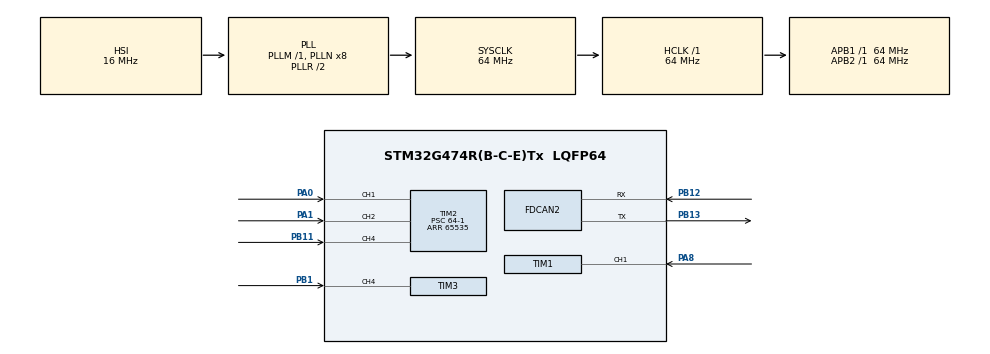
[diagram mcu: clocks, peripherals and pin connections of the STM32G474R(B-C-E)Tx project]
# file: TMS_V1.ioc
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Dma.Request0=TIM1_CH1
Dma.Request1=TIM2_CH1
Dma.Request2=TIM2_CH2
Dma.Request3=TIM3_CH4
Dma.Request4=TIM2_CH4
Dma.TIM1_CH1.0.Direction=DMA_PERIPH_TO_MEMORY
Dma.TIM1_CH1.0.EventEnable=DISABLE
Dma.TIM1_CH1.0.Instance=DMA1_Channel1
Dma.TIM1_CH1.0.MemDataAlignment=DMA_MDATAALIGN_WORD
Dma.TIM1_CH1.0.MemInc=DMA_MINC_ENABLE
Dma.TIM1_CH1.0.Mode=DMA_NORMAL
Dma.TIM1_CH1.0.PeriphDataAlignment=DMA_PDATAALIGN_WORD
Dma.TIM1_CH1.0.PeriphInc=DMA_PINC_DISABLE
Dma.TIM1_CH1.0.Polarity=HAL_DMAMUX_REQ_GEN_RISING
Dma.TIM1_CH1.0.Priority=DMA_PRIORITY_LOW
Dma.TIM1_CH1.0.RequestNumber=1
Dma.TIM1_CH1.0.SignalID=NONE
Dma.TIM1_CH1.0.SyncEnable=DISABLE
Dma.TIM1_CH1.0.SyncPolarity=HAL_DMAMUX_SYNC_NO_EVENT
Dma.TIM1_CH1.0.SyncRequestNumber=1
Dma.TIM1_CH1.0.SyncSignalID=NONE
Dma.TIM2_CH1.1.Direction=DMA_PERIPH_TO_MEMORY
Dma.TIM2_CH1.1.EventEnable=DISABLE
Dma.TIM2_CH1.1.Instance=DMA1_Channel4
Dma.TIM2_CH1.1.MemDataAlignment=DMA_MDATAALIGN_WORD
Dma.TIM2_CH1.1.MemInc=DMA_MINC_ENABLE
Dma.TIM2_CH1.1.Mode=DMA_NORMAL
Dma.TIM2_CH1.1.PeriphDataAlignment=DMA_PDATAALIGN_WORD
Dma.TIM2_CH1.1.PeriphInc=DMA_PINC_DISABLE
Dma.TIM2_CH1.1.Polarity=HAL_DMAMUX_REQ_GEN_RISING
Dma.TIM2_CH1.1.Priority=DMA_PRIORITY_LOW
Dma.TIM2_CH1.1.RequestNumber=1
Dma.TIM2_CH1.1.SignalID=NONE
Dma.TIM2_CH1.1.SyncEnable=DISABLE
Dma.TIM2_CH1.1.SyncPolarity=HAL_DMAMUX_SYNC_NO_EVENT
Dma.TIM2_CH1.1.SyncRequestNumber=1
Dma.TIM2_CH1.1.SyncSignalID=NONE
Dma.TIM2_CH2.2.Direction=DMA_PERIPH_TO_MEMORY
Dma.TIM2_CH2.2.EventEnable=DISABLE
Dma.TIM2_CH2.2.Instance=DMA1_Channel5
Dma.TIM2_CH2.2.MemDataAlignment=DMA_MDATAALIGN_WORD
Dma.TIM2_CH2.2.MemInc=DMA_MINC_ENABLE
Dma.TIM2_CH2.2.Mode=DMA_NORMAL
Dma.TIM2_CH2.2.PeriphDataAlignment=DMA_PDATAALIGN_WORD
Dma.TIM2_CH2.2.PeriphInc=DMA_PINC_DISABLE
Dma.TIM2_CH2.2.Polarity=HAL_DMAMUX_REQ_GEN_RISING
Dma.TIM2_CH2.2.Priority=DMA_PRIORITY_LOW
Dma.TIM2_CH2.2.RequestNumber=1
Dma.TIM2_CH2.2.SignalID=NONE
Dma.TIM2_CH2.2.SyncEnable=DISABLE
Dma.TIM2_CH2.2.SyncPolarity=HAL_DMAMUX_SYNC_NO_EVENT
Dma.TIM2_CH2.2.SyncRequestNumber=1
Dma.TIM2_CH2.2.SyncSignalID=NONE
Dma.TIM2_CH4.4.Direction=DMA_PERIPH_TO_MEMORY
Dma.TIM2_CH4.4.EventEnable=DISABLE
Dma.TIM2_CH4.4.Instance=DMA1_Channel2
Dma.TIM2_CH4.4.MemDataAlignment=DMA_MDATAALIGN_WORD
Dma.TIM2_CH4.4.MemInc=DMA_MINC_ENABLE
Dma.TIM2_CH4.4.Mode=DMA_NORMAL
Dma.TIM2_CH4.4.PeriphDataAlignment=DMA_PDATAALIGN_WORD
Dma.TIM2_CH4.4.PeriphInc=DMA_PINC_DISABLE
Dma.TIM2_CH4.4.Polarity=HAL_DMAMUX_REQ_GEN_RISING
Dma.TIM2_CH4.4.Priority=DMA_PRIORITY_LOW
Dma.TIM2_CH4.4.RequestNumber=1
Dma.TIM2_CH4.4.SignalID=NONE
Dma.TIM2_CH4.4.SyncEnable=DISABLE
Dma.TIM2_CH4.4.SyncPolarity=HAL_DMAMUX_SYNC_NO_EVENT
Dma.TIM2_CH4.4.SyncRequestNumber=1
Dma.TIM2_CH4.4.SyncSignalID=NONE
Dma.TIM3_CH4.3.Direction=DMA_PERIPH_TO_MEMORY
Dma.TIM3_CH4.3.EventEnable=DISABLE
Dma.TIM3_CH4.3.Instance=DMA1_Channel6
Dma.TIM3_CH4.3.MemDataAlignment=DMA_MDATAALIGN_WORD
Dma.TIM3_CH4.3.MemInc=DMA_MINC_ENABLE
Dma.TIM3_CH4.3.Mode=DMA_NORMAL
Dma.TIM3_CH4.3.PeriphDataAlignment=DMA_PDATAALIGN_WORD
Dma.TIM3_CH4.3.PeriphInc=DMA_PINC_DISABLE
Dma.TIM3_CH4.3.Polarity=HAL_DMAMUX_REQ_GEN_RISING
Dma.TIM3_CH4.3.Priority=DMA_PRIORITY_LOW
Dma.TIM3_CH4.3.RequestNumber=1
Dma.TIM3_CH4.3.SignalID=NONE
Dma.TIM3_CH4.3.SyncEnable=DISABLE
Dma.TIM3_CH4.3.SyncPolarity=HAL_DMAMUX_SYNC_NO_EVENT
Dma.TIM3_CH4.3.SyncRequestNumber=1
Dma.TIM3_CH4.3.SyncSignalID=NONE
FDCAN2.CalculateBaudRateNominal=500000
FDCAN2.CalculateTimeBitNominal=2000
FDCAN2.CalculateTimeQuantumNominal=125.0
FDCAN2.NominalPrescaler=8
FDCAN2.NominalTimeSeg1=13
FDCAN2.NominalTimeSeg2=2
Mcu.Family=STM32G4
Mcu.Name=STM32G474R(B-C-E)Tx
Mcu.Package=LQFP64
NVIC.DMA1_Channel1_IRQn=true\:0\:0\:false\:false\:true\:false\:true\:true
NVIC.DMA1_Channel2_IRQn=true\:0\:0\:false\:false\:true\:false\:true\:true
NVIC.DMA1_Channel4_IRQn=true\:0\:0\:false\:false\:true\:false\:true\:true
NVIC.DMA1_Channel5_IRQn=true\:0\:0\:false\:false\:true\:false\:true\:true
NVIC.DMA1_Channel6_IRQn=true\:0\:0\:false\:false\:true\:false\:true\:true
NVIC.PriorityGroup=NVIC_PRIORITYGROUP_4
PA0.Signal=S_TIM2_CH1
PA1.Signal=S_TIM2_CH2
PA13.Mode=Serial_Wire
PA13.Signal=SYS_JTMS-SWDIO
PA14.Mode=Serial_Wire
PA14.Signal=SYS_JTCK-SWCLK
PA8.Signal=S_TIM1_CH1
PB1.Signal=S_TIM3_CH4
PB11.Signal=S_TIM2_CH4
PB12.Mode=FDCAN_Activate
PB12.Signal=FDCAN2_RX
PB13.Mode=FDCAN_Activate
PB13.Signal=FDCAN2_TX
ProjectManager.HeapSize=0x200
ProjectManager.StackSize=0x400
ProjectManager.TargetToolchain=STM32CubeIDE
RCC.ADC12Freq_Value=64000000
RCC.ADC345Freq_Value=64000000
RCC.AHBFreq_Value=64000000
RCC.APB1Freq_Value=64000000
RCC.APB1TimFreq_Value=64000000
RCC.APB2Freq_Value=64000000
RCC.APB2TimFreq_Value=64000000
RCC.CortexFreq_Value=64000000
RCC.EXTERNAL_CLOCK_VALUE=12288000
RCC.HCLKFreq_Value=64000000
RCC.HSE_VALUE=8000000
RCC.HSI48_VALUE=48000000
RCC.HSI_VALUE=16000000
RCC.LSE_VALUE=32768
RCC.SYSCLKFreq_VALUE=64000000
RCC.SYSCLKSource=RCC_SYSCLKSOURCE_PLLCLK
RCC.USBFreq_Value=64000000
RCC.VCOOutputFreq_Value=128000000
SH.S_TIM1_CH1.0=TIM1_CH1,Input_Capture1_from_TI1
SH.S_TIM2_CH1.0=TIM2_CH1,Input_Capture1_from_TI1
SH.S_TIM2_CH2.0=TIM2_CH2,Input_Capture2_from_TI2
SH.S_TIM2_CH4.0=TIM2_CH4,Input_Capture4_from_TI4
SH.S_TIM3_CH4.0=TIM3_CH4,Input_Capture4_from_TI4
TIM1.Channel-Input_Capture1_from_TI1=TIM_CHANNEL_1
TIM1.Prescaler=64-1
TIM2.Channel-Input_Capture1_from_TI1=TIM_CHANNEL_1
TIM2.Channel-Input_Capture2_from_TI2=TIM_CHANNEL_2
TIM2.Channel-Input_Capture4_from_TI4=TIM_CHANNEL_4
TIM2.PeriodNoDither=65535
TIM2.Prescaler=64-1
TIM3.Channel-Input_Capture4_from_TI4=TIM_CHANNEL_4
TIM3.Prescaler=64-1
VP_SYS_VS_DBSignals.Mode=DisableDeadBatterySignals
VP_TIM1_VS_ClockSourceINT.Mode=Internal
VP_TIM2_VS_ClockSourceINT.Mode=Internal
VP_TIM3_VS_ClockSourceINT.Mode=Internal
board=custom

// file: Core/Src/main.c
/* USER CODE BEGIN Header */
/**
  ******************************************************************************
  * @file           : main.c
  * @brief          : TMS — Temperature Monitoring System
  *
  * ARCHITECTURE (new hardware):
  *   5 segments × 16 cells each = 80 cells total
  *
  *   Per segment:
  *     16 NTC sensors → 16-ch analog MUX → V-to-F converter
  *     → optical isolator → Timer Input Capture pin
  *
  *   MUX address (S0–S3): PA2–PA5, shared across all 5 segment MUXes.
  *   Selecting channel N on the address bus selects cell N on ALL 5 segments
  *   simultaneously, so all 5 V-to-F converters run in parallel per channel.
  *
  * SCAN CYCLE (every ~320 ms with default timing):
  *   for ch = 0..15:
  *     1. Drive MUX_S0..S3 to 'ch'
  *     2. Wait MUX_SETTLE_MS for V-to-F output to settle at new frequency
  *     3. Start DMA Input Capture on all 5 timer channels simultaneously
  *     4. Wait MUX_MEASURE_MS (captures 2 rising edges per channel)
  *     5. Compute frequency → voltage → temperature for each segment
  *
  * OUTPUTS after each full scan:
  *   CAN — 10 × classic CAN frames to Orion 2 BMS (80 temperatures)
  *          IDs 0x1839F380..0x1839F389  (29-bit extended)
  *          Encoding: data[byte] = (uint8_t)(temp_°C + 40)
  *          Msg 0: Seg0 cells 0-7 … Msg 9: Seg4 cells 8-15
  *
  *   CAN — 1 × summary frame to secondary MCU
  *          ID 0x100  (11-bit standard)
  *          Byte 0: T_min+40    Byte 1: min_cell  Byte 2: min_seg
  *          Byte 3: T_avg+40
  *          Byte 4: T_max+40    Byte 5: max_cell  Byte 6: max_seg
  *          Byte 7: 0x00 (reserved)
  *
  * HARDWARE PINS (do NOT change without updating CubeMX .ioc):
  *   PA0  TIM2_CH1  Segment 0 V-to-F input
  *   PA1  TIM2_CH2  Segment 1 V-to-F input
  *   PB1  TIM3_CH4  Segment 2 V-to-F input
  *   PB11 TIM2_CH4  Segment 3 V-to-F input
  *   PA8  TIM1_CH1  Segment 4 V-to-F input
  *   PA2  USART2_TX (AF7)  ST-Link VCP → PC dashboard (115200 baud)
  *   PA3  USART2_RX (AF7)  ST-Link VCP (unused, TX-only)
  *   PB4  GPIO_OUT  MUX_S0 (LSB of 4-bit channel address)
  *   PB5  GPIO_OUT  MUX_S1
  *   PB6  GPIO_OUT  MUX_S2
  *   PB7  GPIO_OUT  MUX_S3 (MSB)
  *   PB8  FDCAN1_RX (AF9)
  *   PB9  FDCAN1_TX (AF9)
  ******************************************************************************
  */
/* USER CODE END Header */
#include "main.h"

/* USER CODE BEGIN Includes */
#include <string.h>
#include <stdio.h>
/* USER CODE END Includes */

/* USER CODE BEGIN PD */

/* ---------- System dimensions ---------- */
#define MAX_SEGMENTS         5u    /* physical timer channels — fixed array dimension, never change */
#define NUM_SEGMENTS         1u    /* active segments for bring-up; change to 5 for full-pack */
#define NUM_CHANNELS        16u    /* 16-channel MUX per segment               */
#define NUM_CELLS           (NUM_SEGMENTS * NUM_CHANNELS)   /* 80 total        */

/* ---------- Scan timing (ms) ---------- */
/*
 * MUX_SETTLE_MS  : time from MUX address change until the V-to-F output is
 *                  stable at the new frequency.  Increase if your V-to-F
 *                  integrating capacitor is large (slow settling).
 * MUX_MEASURE_MS : measurement window after settling.  Must be > 2 × period
 *                  at the lowest expected frequency (1800 Hz → 1.1 ms),
 *                  so 10 ms gives a comfortable margin.
 */
#define MUX_SETTLE_MS        10u
#define MUX_MEASURE_MS       2u

/* ---------- V-to-F / temperature conversion ---------- */
#define EMA_ALPHA            0.3f   /* EMA smoothing: lower = smoother, slower */
#define FREQ_MIN          1829.0f   /* Hz  @ V_MIN (hottest cell) */
#define FREQ_MAX          5515.0f   /* Hz  @ V_MAX (coldest cell) */
#define V_MIN                1.30f  /* V */
#define V_MAX                2.44f  /* V */
#define TIMER_OVERFLOW     65536u   /* 16-bit timer ARR = 65535, wraps at 65536 */
#define FREQ_OPEN_WIRE_HZ  7000.0f  /* Hz — above FREQ_MAX; indicates disconnected cell (open wire → ~11 kHz) */
#define OPEN_WIRE_MISS_MAX    3u    /* consecutive zero-freq scans before declaring open wire */

/* ---------- Orion 2 BMS — Thermistor Expansion Module protocol ----------
 *
 * Two frame types must be sent to simulate a thermistor expansion module
 * (Note #8 of the official protocol document):
 *
 *   0x18EEFF80+seg  J1939 Address Claim   — every scan (~200 ms target)
 *   0x1839F380+seg  Thermistor Broadcast  — every scan (~100 ms target)
 *
 * Each segment is treated as an independent thermistor module (seg 0–4).
 * Temperature encoding: signed 8-bit, direct °C (no offset).
 * Checksum (byte 8): sum(bytes 1–7) + 0x39 + 8 (frame length).
 */

/* ---------- Summary packet to secondary MCU ---------- */
#define SUMMARY_CAN_ID       0x100u        /* 11-bit standard CAN ID */

/* ---------- Modo de teste -------------------------------------------------------
 * Descomente TEST_MODE para habilitar o gerador de frequência via TIM16 CH1 (PA6).
 * Conecte PA6 com um jumper ao pino de entrada do segmento que quer testar (PA0).
 * O firmware opera normalmente (scan MUX, CAN, UART); a única adição é o PWM em PA6.
 *
 * test_freq_hz (Live Expressions) controla a frequência gerada em tempo real.
 * Faixa válida: 1800–5450 Hz.
 * -------------------------------------------------------------------------*/
#define TEST_MODE
#define TEST_FREQ_HZ_DEFAULT  3600U     /* frequência inicial em Hz */

/* USER CODE END PD */

FDCAN_HandleTypeDef hfdcan2;

TIM_HandleTypeDef htim1;
TIM_HandleTypeDef htim2;
TIM_HandleTypeDef htim3;
DMA_HandleTypeDef hdma_tim1_ch1;
DMA_HandleTypeDef hdma_tim2_ch1;
DMA_HandleTypeDef hdma_tim2_ch2;
DMA_HandleTypeDef hdma_tim2_ch4;
DMA_HandleTypeDef hdma_tim3_ch4;

/* USER CODE BEGIN PV */

/* ---- Live-expression variables (sempre presentes na RAM) ----
 * volatile: toda escrita vai direto para memória → Live Expressions sempre
 * mostra o valor atual, nunca uma cópia obsoleta de registrador.     */
/* Arrays sized to MAX_SEGMENTS (5) regardless of NUM_SEGMENTS.
 * process_segment() is called for all 5 hardware channels unconditionally;
 * using [NUM_SEGMENTS] here caused a buffer overflow that aliased
 * freq_filtrada[1][ch] onto temperatures[0][ch], corrupting t_min. */
volatile float     freq_filtrada[MAX_SEGMENTS][NUM_CHANNELS] __attribute__((used));
volatile float     temperatures[MAX_SEGMENTS][NUM_CHANNELS]  __attribute__((used));
volatile float     tensao[MAX_SEGMENTS][NUM_CHANNELS]        __attribute__((used));

/* 1 = all active-segment cells have valid readings; 0 = at least one open wire */
volatile uint8_t   connection_ok                             __attribute__((used));

#ifdef TEST_MODE
static TIM_HandleTypeDef htim16_test;
volatile uint32_t  test_freq_hz = TEST_FREQ_HZ_DEFAULT; /* Hz — altere via Live Expressions */
#endif

/* Voltage-to-temperature lookup table (monotonically decreasing voltage) */
static const float temp_table[] = {
    -40,-35,-30,-25,-20,-15,-10, -5,  0,  5, 10, 15, 20, 25,
     30, 35, 40, 45, 50, 55, 60, 65, 70, 75, 80, 85, 90, 95,
    100,105,110,115,120
};
#define TEMP_TABLE_LEN  (sizeof(temp_table) / sizeof(float))

static const float voltage_table[] = {
    2.44f,2.42f,2.40f,2.38f,2.35f,2.32f,2.27f,2.23f,2.17f,2.11f,
    2.05f,1.99f,1.92f,1.86f,1.80f,1.74f,1.68f,1.63f,1.59f,1.55f,
    1.51f,1.48f,1.45f,1.43f,1.40f,1.38f,1.37f,1.35f,1.34f,1.33f,
    1.32f,1.31f,1.30f
};

/* Scan statistics — updated each full cycle */
static float t_min, t_avg, t_max;
static uint8_t min_cell, min_seg, max_cell, max_seg;

/* Open-wire detection: counts consecutive zero-freq readings per cell */
static uint8_t open_wire_count[MAX_SEGMENTS][NUM_CHANNELS];

/* USER CODE END PV */

void SystemClock_Config(void);
static void MX_GPIO_Init(void);
static void MX_DMA_Init(void);
static void MX_TIM1_Init(void);
static void MX_TIM2_Init(void);
static void MX_TIM3_Init(void);
static void MX_FDCAN2_Init(void);
/* USER CODE BEGIN PFP */
static void FDCAN_Config(void);
static void USART2_Init(void);
static void USART2_Write(const char *buf, uint16_t len);
#ifdef TEST_MODE
static void test_pwm_start(uint32_t freq_hz);
static void test_pwm_update(uint32_t freq_hz);
#endif
/* USER CODE END PFP */

/* USER CODE BEGIN 0 */

/* DMA capture buffers — two timestamps per channel (1 MHz timer → µs) */
static volatile uint32_t in_capture_1[2];  /* Seg 0: TIM2 CH1  (PA0)  */
static volatile uint32_t in_capture_2[2];  /* Seg 1: TIM2 CH2  (PA1)  */
static volatile uint32_t in_capture_3[2];  /* Seg 2: TIM3 CH4  (PB1)  */
static volatile uint32_t in_capture_4[2];  /* Seg 3: TIM2 CH4  (PB11) */
static volatile uint32_t in_capture_5[2];  /* Seg 4: TIM1 CH1  (PA8)  */

/* ---- Helper: linear interpolation ---- */
static float map_float(float x,
                       float in_min, float in_max,
                       float out_min, float out_max)
{
    return (x - in_min) * (out_max - out_min) / (in_max - in_min) + out_min;
}

/* ---- Frequency (Hz) → analog voltage (V) ---- */
static float freq_to_voltage(float freq)
{
    if (freq < FREQ_MIN) freq = FREQ_MIN;
    if (freq > FREQ_MAX) freq = FREQ_MAX;
    return map_float(freq, FREQ_MIN, FREQ_MAX, V_MIN, V_MAX);
}

/* ---- Voltage (V) → temperature (°C) via lookup table ---- */
static float voltage_to_temp(float v)
{
    uint32_t i;
    for (i = 0; i < TEMP_TABLE_LEN - 1u; i++)
    {
        if (v <= voltage_table[i] && v >= voltage_table[i + 1u])
        {
            return map_float(v,
                             voltage_table[i], voltage_table[i + 1u],
                             temp_table[i],    temp_table[i + 1u]);
        }
    }
    return -999.0f;   /* out-of-range sentinel */
}

/* ---- MUX channel selection (S0–S3 → 4-bit binary address) ---- */
static void MUX_SetChannel(uint8_t ch)
{
    /* Drive each address bit individually; HAL_GPIO_WritePin is fast enough */
    HAL_GPIO_WritePin(MUX_S0_GPIO_Port, MUX_S0_Pin,
                      (ch & 0x01u) ? GPIO_PIN_SET : GPIO_PIN_RESET);
    HAL_GPIO_WritePin(MUX_S1_GPIO_Port, MUX_S1_Pin,
                      (ch & 0x02u) ? GPIO_PIN_SET : GPIO_PIN_RESET);
    HAL_GPIO_WritePin(MUX_S2_GPIO_Port, MUX_S2_Pin,
                      (ch & 0x04u) ? GPIO_PIN_SET : GPIO_PIN_RESET);
    HAL_GPIO_WritePin(MUX_S3_GPIO_Port, MUX_S3_Pin,
                      (ch & 0x08u) ? GPIO_PIN_SET : GPIO_PIN_RESET);
}

/* ---- Compute frequency from two DMA-captured timer timestamps ---- */
static float compute_frequency(volatile uint32_t *cap)
{
    uint32_t delta;
    if (cap[1] >= cap[0])
        delta = cap[1] - cap[0];
    else
        delta = TIMER_OVERFLOW - cap[0] + cap[1];   /* handle wrap-around */

    if (delta == 0u) return 0.0f;
    return 1000000.0f / (float)delta;               /* timer @ 1 MHz → µs */
}

/* ---- Compute min / avg / max across all cells, skipping open-wire (-999) ---- */
static void ComputeStats(void)
{
    float   sum        = 0.0f;
    uint8_t valid_cnt  = 0u;

    t_min    = 200.0f;   /* sentinel: higher than any real temperature */
    t_max    = -200.0f;  /* sentinel: lower  than any real temperature */
    min_seg  = 0u; min_cell = 0u;
    max_seg  = 0u; max_cell = 0u;
    connection_ok = 1u;  /* assume healthy; cleared on first open-wire cell found */

    for (uint8_t seg = 0u; seg < NUM_SEGMENTS; seg++)
    {
        for (uint8_t ch = 0u; ch < NUM_CHANNELS; ch++)
        {
#ifdef TEST_MODE
            if (seg == 0u && ch == 14u) continue;  /* canal 14 ignorado em TEST_MODE */
#endif
            float t = temperatures[seg][ch];
            if (t <= -998.0f)
            {
                connection_ok = 0u;   /* at least one open wire detected */
                continue;
            }
            sum += t;
            valid_cnt++;
            if (t < t_min) { t_min = t; min_seg = seg; min_cell = ch; }
            if (t > t_max) { t_max = t; max_seg = seg; max_cell = ch; }
        }
    }

    t_avg = (valid_cnt > 0u) ? (sum / (float)valid_cnt) : -999.0f;

    /* If no valid cell found, reset sentinels to avoid sending garbage on CAN */
    if (valid_cnt == 0u) { t_min = -999.0f; t_max = -999.0f; }
}

/* ---- J1939 Address Claim (0x18EEFF80 + seg) — one frame per module ----
 *
 * Required for the Orion 2 BMS to recognise each simulated thermistor module.
 * CAN ID last byte = source address (0x80 + seg).
 *
 *   Byte 1–3  J1939 unique identifier (default 0xF3 0x00 0x80)
 *   Byte 4    BMS target address (0xF3)
 *   Byte 5    Module number << 3
 *   Byte 6    0x40  (constant)
 *   Byte 7    0x1E  (constant)
 *   Byte 8    0x90  (constant)
 */
static void CAN_SendAddressClaim(void)
{
    FDCAN_TxHeaderTypeDef hdr = {0};
    uint8_t data[8];

    hdr.IdType              = FDCAN_EXTENDED_ID;
    hdr.TxFrameType         = FDCAN_DATA_FRAME;
    hdr.DataLength          = FDCAN_DLC_BYTES_8;
    hdr.ErrorStateIndicator = FDCAN_ESI_ACTIVE;
    hdr.BitRateSwitch       = FDCAN_BRS_OFF;
    hdr.FDFormat            = FDCAN_CLASSIC_CAN;
    hdr.TxEventFifoControl  = FDCAN_NO_TX_EVENTS;
    hdr.MessageMarker       = 0u;

    data[3] = 0xF3u;
    data[5] = 0x40u;
    data[6] = 0x1Eu;
    data[7] = 0x90u;

    for (uint8_t seg = 0u; seg < NUM_SEGMENTS; seg++)
    {
        data[0] = 0xF3u;
        data[1] = 0x00u;
        data[2] = 0x80u;
        data[4] = (uint8_t)(seg << 3u);   /* module number << 3 */

        hdr.Identifier = 0x18EEFF80u + seg;
        HAL_FDCAN_AddMessageToTxFifoQ(&hfdcan2, &hdr, data);
    }
}

/* ---- Thermistor Module Broadcast (0x1839F380 + seg) — one frame per module ----
 *
 *   Byte 1  Module number (= seg, 0–4)
 *   Byte 2  Lowest  thermistor value (int8_t, °C)
 *   Byte 3  Highest thermistor value (int8_t, °C)
 *   Byte 4  Average thermistor value (int8_t, °C)
 *   Byte 5  Number of thermistors enabled; bit 7 set if any fault on this module
 *   Byte 6  Highest thermistor ID on the module (zero-based MUX channel)
 *   Byte 7  Lowest  thermistor ID on the module (zero-based MUX channel)
 *   Byte 8  Checksum: sum(bytes 1–7) + 0x39 + 8
 */
static void CAN_SendThermistorData(void)
{
    FDCAN_TxHeaderTypeDef hdr = {0};
    uint8_t data[8];

    hdr.IdType              = FDCAN_EXTENDED_ID;
    hdr.TxFrameType         = FDCAN_DATA_FRAME;
    hdr.DataLength          = FDCAN_DLC_BYTES_8;
    hdr.ErrorStateIndicator = FDCAN_ESI_ACTIVE;
    hdr.BitRateSwitch       = FDCAN_BRS_OFF;
    hdr.FDFormat            = FDCAN_CLASSIC_CAN;
    hdr.TxEventFifoControl  = FDCAN_NO_TX_EVENTS;
    hdr.MessageMarker       = 0u;

    for (uint8_t seg = 0u; seg < NUM_SEGMENTS; seg++)
    {
        float   seg_min = 200.0f, seg_max = -200.0f, seg_sum = 0.0f;
        uint8_t valid = 0u, fault = 0u;
        uint8_t highest_id = 0u, lowest_id = 0u;

        for (uint8_t ch = 0u; ch < NUM_CHANNELS; ch++)
        {
            float t = temperatures[seg][ch];
            if (t <= -998.0f) { fault = 1u; continue; }
            seg_sum += t;
            valid++;
            if (t < seg_min) { seg_min = t; lowest_id  = ch; }
            if (t > seg_max) { seg_max = t; highest_id = ch; }
        }

        data[0] = seg;
        data[1] = (uint8_t)(int8_t)(valid > 0u ? seg_min : -40.0f);
        data[2] = (uint8_t)(int8_t)(valid > 0u ? seg_max : -40.0f);
        data[3] = (uint8_t)(int8_t)(valid > 0u ? seg_sum / (float)valid : -40.0f);
        data[4] = (valid & 0x7Fu) | (fault ? 0x80u : 0x00u);
        data[5] = highest_id;
        data[6] = lowest_id;

        /* Checksum: sum of bytes 0–6 + 0x39 + frame length (8) */
        uint8_t cksum = 0x39u + 8u;
        for (uint8_t i = 0u; i < 7u; i++) cksum += data[i];
        data[7] = cksum;

        hdr.Identifier = 0x1839F380u + seg;
        HAL_FDCAN_AddMessageToTxFifoQ(&hfdcan2, &hdr, data);
    }
}

/* ---- Send 1 summary CAN frame to secondary MCU ---- *
 *
 *   Byte 0  T_min + 40  (uint8_t, same encoding as Orion 2 frames)
 *   Byte 1  min_cell    0–15  (MUX channel index of the coldest cell)
 *   Byte 2  min_seg     0–4   (segment of the coldest cell)
 *   Byte 3  T_avg + 40  (uint8_t)
 *   Byte 4  T_max + 40  (uint8_t)
 *   Byte 5  max_cell    0–15  (MUX channel index of the hottest cell)
 *   Byte 6  max_seg     0–4   (segment of the hottest cell)
 *   Byte 7  0x00        reserved
 */
static void CAN_SendSummaryPacket(void)
{
    FDCAN_TxHeaderTypeDef hdr;
    uint8_t data[8];

    hdr.Identifier          = SUMMARY_CAN_ID;
    hdr.IdType              = FDCAN_STANDARD_ID;
    hdr.TxFrameType         = FDCAN_DATA_FRAME;
    hdr.DataLength          = FDCAN_DLC_BYTES_8;
    hdr.ErrorStateIndicator = FDCAN_ESI_ACTIVE;
    hdr.BitRateSwitch       = FDCAN_BRS_OFF;
    hdr.FDFormat            = FDCAN_CLASSIC_CAN;
    hdr.TxEventFifoControl  = FDCAN_NO_TX_EVENTS;
    hdr.MessageMarker       = 0u;

    data[0] = (uint8_t)(int8_t)t_min;
    data[1] = min_cell;
    data[2] = min_seg;
    data[3] = (uint8_t)(int8_t)t_avg;
    data[4] = (uint8_t)(int8_t)t_max;
    data[5] = max_cell;
    data[6] = max_seg;
    data[7] = 0x00u;

    HAL_FDCAN_AddMessageToTxFifoQ(&hfdcan2, &hdr, data);
}

/* ---- Per-segment open-wire-aware processing --------------------------------
 *
 * Three cases:
 *   freq_raw > FREQ_OPEN_WIRE_HZ  → V-to-F output above valid range (open wire
 *                                    detected directly): mark -999, reset counter.
 *   freq_raw > 0                  → valid measurement: update EMA and compute temp.
 *   freq_raw == 0                 → no edges captured (opto bandwidth limit at high
 *                                    freq, or no signal): increment miss counter;
 *                                    after OPEN_WIRE_MISS_MAX consecutive misses
 *                                    mark -999.  EMA and tensao are not updated in
 *                                    either fault case so the last valid reading is
 *                                    preserved for quick recovery on reconnection.
 */
static void process_segment(uint8_t seg, uint8_t ch, volatile uint32_t *cap)
{
    float freq_raw = compute_frequency(cap);

    if (freq_raw > FREQ_OPEN_WIRE_HZ)
    {
        open_wire_count[seg][ch]  = 0u;
        temperatures[seg][ch]     = -999.0f;
        tensao[seg][ch]           = 0.0f;
    }
    else if (freq_raw > 0.0f)
    {
        open_wire_count[seg][ch]  = 0u;
        freq_filtrada[seg][ch]    = EMA_ALPHA * freq_raw
                                  + (1.0f - EMA_ALPHA) * freq_filtrada[seg][ch];
        temperatures[seg][ch]     = voltage_to_temp(
                                        freq_to_voltage(freq_filtrada[seg][ch]));
        tensao[seg][ch]           = freq_to_voltage(freq_filtrada[seg][ch]);
    }
    else
    {
        if (open_wire_count[seg][ch] < OPEN_WIRE_MISS_MAX)
            open_wire_count[seg][ch]++;
        if (open_wire_count[seg][ch] >= OPEN_WIRE_MISS_MAX)
            temperatures[seg][ch] = -999.0f;
    }
}

/* USER CODE END 0 */

int main(void)
{

  /* MCU Configuration--------------------------------------------------------*/

  /* Reset of all peripherals, Initializes the Flash interface and the Systick. */
  HAL_Init();

  /* Configure the system clock */
  SystemClock_Config();

  /* Initialize all configured peripherals */
  MX_GPIO_Init();
  MX_DMA_Init();
  MX_TIM1_Init();
  MX_TIM2_Init();
  MX_TIM3_Init();
  MX_FDCAN2_Init();
  /* USER CODE BEGIN 2 */

  /* Configure FDCAN1 for 500 kbps (calls HAL_FDCAN_MspInit → GPIO + clock) */
  FDCAN_Config();

  /* USART2 via ST-Link VCP — PA2=TX, PA3=RX, 115200 baud */
  USART2_Init();

  /* Pre-seed EMA with midpoint frequency so the first scan gives a sensible
     reading instead of converging from 0 Hz (which produces 120 °C initially).
     All MAX_SEGMENTS rows are seeded so process_segment(1..4,...) never reads
     uninitialized EMA state. */
  for (uint8_t s = 0u; s < MAX_SEGMENTS; s++)
      for (uint8_t c = 0u; c < NUM_CHANNELS; c++)
          freq_filtrada[s][c] = (FREQ_MIN + FREQ_MAX) * 0.5f;  /* ~3672 Hz */

#ifdef TEST_MODE
  test_pwm_start(test_freq_hz);
#endif

  /* Drive MUX to channel 0 and wait one full settle+measure cycle before
     entering the main loop, so the first scan begins with valid data. */
  MUX_SetChannel(0u);
  HAL_Delay(MUX_SETTLE_MS + MUX_MEASURE_MS);

  /* USER CODE END 2 */

  /* Infinite loop */
  /* USER CODE BEGIN WHILE */
#ifdef TEST_MODE
  uint32_t last_test_freq_hz = test_freq_hz;
#endif
  while (1)
  {
    /* USER CODE END WHILE */

    /* USER CODE BEGIN 3 */

#ifdef TEST_MODE
    /* Aplica qualquer alteração feita em test_freq_hz via Live Expressions */
    if (test_freq_hz != last_test_freq_hz)
    {
        test_pwm_update(test_freq_hz);
        last_test_freq_hz = test_freq_hz;
    }
#endif

    /* ================================================================
     * FULL 16-CHANNEL MUX SCAN
     * For each MUX channel, all 5 segments are captured simultaneously.
     * ================================================================ */
    for (uint8_t ch = 0u; ch < NUM_CHANNELS; ch++)
    {
        /* 1. Select MUX channel on all 5 segment MUXes in parallel */
        MUX_SetChannel(ch);

        /* 2. Stop any previous DMA capture BEFORE settling so the V-to-F
              converter has the full settle window to stabilise at the new
              frequency with no active DMA that could capture residual edges
              from the previous channel. */
        HAL_TIM_IC_Stop_DMA(&htim2, TIM_CHANNEL_1);
        HAL_TIM_IC_Stop_DMA(&htim2, TIM_CHANNEL_2);
        HAL_TIM_IC_Stop_DMA(&htim3, TIM_CHANNEL_4);
        HAL_TIM_IC_Stop_DMA(&htim2, TIM_CHANNEL_4);
        HAL_TIM_IC_Stop_DMA(&htim1, TIM_CHANNEL_1);

        /* Reset timer counters so first-edge timestamps start near zero */
        __HAL_TIM_SET_COUNTER(&htim1, 0u);
        __HAL_TIM_SET_COUNTER(&htim2, 0u);
        __HAL_TIM_SET_COUNTER(&htim3, 0u);

        /* 3. Allow V-to-F converter output to settle at new frequency.
              No DMA is running during this window. */
        HAL_Delay(MUX_SETTLE_MS);

        /* 4. Zero buffers so stale data cannot bleed in if the DMA does not
              complete (channel with no signal). */
        in_capture_1[0] = in_capture_1[1] = 0u;
        in_capture_2[0] = in_capture_2[1] = 0u;
        in_capture_3[0] = in_capture_3[1] = 0u;
        in_capture_4[0] = in_capture_4[1] = 0u;
        in_capture_5[0] = in_capture_5[1] = 0u;

        /* 5. Arm DMA capture on all 5 channels simultaneously.
              Each DMA captures exactly 2 rising edges then stops. */
        HAL_TIM_IC_Start_DMA(&htim2, TIM_CHANNEL_1, (uint32_t *)in_capture_1, 2u);
        HAL_TIM_IC_Start_DMA(&htim2, TIM_CHANNEL_2, (uint32_t *)in_capture_2, 2u);
        HAL_TIM_IC_Start_DMA(&htim3, TIM_CHANNEL_4, (uint32_t *)in_capture_3, 2u);
        HAL_TIM_IC_Start_DMA(&htim2, TIM_CHANNEL_4, (uint32_t *)in_capture_4, 2u);
        HAL_TIM_IC_Start_DMA(&htim1, TIM_CHANNEL_1, (uint32_t *)in_capture_5, 2u);

        /* Wait long enough to guarantee 2 edges at the lowest frequency.
           At 1800 Hz: period = 555 µs → 2 edges in ~1.1 ms.
           MUX_MEASURE_MS = 10 ms → very safe margin. */
        HAL_Delay(MUX_MEASURE_MS);

        /* 6. Compute frequency → voltage → temperature for all 5 segments.
              process_segment() handles open-wire detection (see definition above). */
        process_segment(0u, ch, in_capture_1);  /* TIM2 CH1, PA0  */
        process_segment(1u, ch, in_capture_2);  /* TIM2 CH2, PA1  */
        process_segment(2u, ch, in_capture_3);  /* TIM3 CH4, PB1  */
        process_segment(3u, ch, in_capture_4);  /* TIM2 CH4, PB11 */
        process_segment(4u, ch, in_capture_5);  /* TIM1 CH1, PA8  */
    }

    /* ================================================================
     * AFTER FULL SCAN: compute stats and transmit CAN frames
     * ================================================================ */
    ComputeStats();
    CAN_SendAddressClaim();
    CAN_SendThermistorData();
    CAN_SendSummaryPacket();

    /* UART output to PC dashboard — one line per cell of segment 0:
     * Format: S<seg>,C<cell>,<freq_Hz>,<volt_V>,<temp_C>\r\n
     * Example: S0,C03,2480.50,1.840,36.12                        */
    {
        char    buf[64];
        int     len;
        for (uint8_t ch = 0u; ch < NUM_CHANNELS; ch++)
        {
            float freq = freq_filtrada[0][ch];
            float volt = freq_to_voltage(freq);
            len = snprintf(buf, sizeof(buf), "S0,C%02u,%.2f,%.3f,%.2f\r\n",
                           ch, freq, volt, temperatures[0][ch]);
            USART2_Write(buf, (uint16_t)len);
        }
    }

  }
  /* USER CODE END 3 */
}

void SystemClock_Config(void)
{
  RCC_OscInitTypeDef RCC_OscInitStruct = {0};
  RCC_ClkInitTypeDef RCC_ClkInitStruct = {0};

  /** Configure the main internal regulator output voltage
  */
  HAL_PWREx_ControlVoltageScaling(PWR_REGULATOR_VOLTAGE_SCALE1);

  /** Initializes the RCC Oscillators according to the specified parameters
  * in the RCC_OscInitTypeDef structure.
  */
  RCC_OscInitStruct.OscillatorType = RCC_OSCILLATORTYPE_HSI;
  RCC_OscInitStruct.HSIState = RCC_HSI_ON;
  RCC_OscInitStruct.HSICalibrationValue = RCC_HSICALIBRATION_DEFAULT;
  RCC_OscInitStruct.PLL.PLLState = RCC_PLL_ON;
  RCC_OscInitStruct.PLL.PLLSource = RCC_PLLSOURCE_HSI;
  RCC_OscInitStruct.PLL.PLLM = RCC_PLLM_DIV1;
  RCC_OscInitStruct.PLL.PLLN = 8;
  RCC_OscInitStruct.PLL.PLLP = RCC_PLLP_DIV2;
  RCC_OscInitStruct.PLL.PLLQ = RCC_PLLQ_DIV2;
  RCC_OscInitStruct.PLL.PLLR = RCC_PLLR_DIV2;
  if (HAL_RCC_OscConfig(&RCC_OscInitStruct) != HAL_OK)
  {
    Error_Handler();
  }

  /** Initializes the CPU, AHB and APB buses clocks
  */
  RCC_ClkInitStruct.ClockType = RCC_CLOCKTYPE_HCLK|RCC_CLOCKTYPE_SYSCLK
                              |RCC_CLOCKTYPE_PCLK1|RCC_CLOCKTYPE_PCLK2;
  RCC_ClkInitStruct.SYSCLKSource = RCC_SYSCLKSOURCE_PLLCLK;
  RCC_ClkInitStruct.AHBCLKDivider = RCC_SYSCLK_DIV1;
  RCC_ClkInitStruct.APB1CLKDivider = RCC_HCLK_DIV1;
  RCC_ClkInitStruct.APB2CLKDivider = RCC_HCLK_DIV1;

  if (HAL_RCC_ClockConfig(&RCC_ClkInitStruct, FLASH_LATENCY_2) != HAL_OK)
  {
    Error_Handler();
  }
}

static void MX_FDCAN2_Init(void)
{

  hfdcan2.Instance = FDCAN2;
  hfdcan2.Init.ClockDivider = FDCAN_CLOCK_DIV1;
  hfdcan2.Init.FrameFormat = FDCAN_FRAME_CLASSIC;
  hfdcan2.Init.Mode = FDCAN_MODE_NORMAL;
  hfdcan2.Init.AutoRetransmission = DISABLE;
  hfdcan2.Init.TransmitPause = DISABLE;
  hfdcan2.Init.ProtocolException = DISABLE;
  hfdcan2.Init.NominalPrescaler = 8;
  hfdcan2.Init.NominalSyncJumpWidth = 1;
  hfdcan2.Init.NominalTimeSeg1 = 13;
  hfdcan2.Init.NominalTimeSeg2 = 2;
  hfdcan2.Init.DataPrescaler = 1;
  hfdcan2.Init.DataSyncJumpWidth = 1;
  hfdcan2.Init.DataTimeSeg1 = 1;
  hfdcan2.Init.DataTimeSeg2 = 1;
  hfdcan2.Init.StdFiltersNbr = 0;
  hfdcan2.Init.ExtFiltersNbr = 0;
  hfdcan2.Init.TxFifoQueueMode = FDCAN_TX_FIFO_OPERATION;
  if (HAL_FDCAN_Init(&hfdcan2) != HAL_OK)
  {
    Error_Handler();
  }

}

static void MX_TIM1_Init(void)
{

  TIM_ClockConfigTypeDef sClockSourceConfig = {0};
  TIM_MasterConfigTypeDef sMasterConfig = {0};
  TIM_IC_InitTypeDef sConfigIC = {0};

  htim1.Instance = TIM1;
  htim1.Init.Prescaler = 64-1;
  htim1.Init.CounterMode = TIM_COUNTERMODE_UP;
  htim1.Init.Period = 65535;
  htim1.Init.ClockDivision = TIM_CLOCKDIVISION_DIV1;
  htim1.Init.RepetitionCounter = 0;
  htim1.Init.AutoReloadPreload = TIM_AUTORELOAD_PRELOAD_DISABLE;
  if (HAL_TIM_Base_Init(&htim1) != HAL_OK)
  {
    Error_Handler();
  }
  sClockSourceConfig.ClockSource = TIM_CLOCKSOURCE_INTERNAL;
  if (HAL_TIM_ConfigClockSource(&htim1, &sClockSourceConfig) != HAL_OK)
  {
    Error_Handler();
  }
  if (HAL_TIM_IC_Init(&htim1) != HAL_OK)
  {
    Error_Handler();
  }
  sMasterConfig.MasterOutputTrigger = TIM_TRGO_RESET;
  sMasterConfig.MasterOutputTrigger2 = TIM_TRGO2_RESET;
  sMasterConfig.MasterSlaveMode = TIM_MASTERSLAVEMODE_DISABLE;
  if (HAL_TIMEx_MasterConfigSynchronization(&htim1, &sMasterConfig) != HAL_OK)
  {
    Error_Handler();
  }
  sConfigIC.ICPolarity = TIM_INPUTCHANNELPOLARITY_RISING;
  sConfigIC.ICSelection = TIM_ICSELECTION_DIRECTTI;
  sConfigIC.ICPrescaler = TIM_ICPSC_DIV1;
  sConfigIC.ICFilter = 0;
  if (HAL_TIM_IC_ConfigChannel(&htim1, &sConfigIC, TIM_CHANNEL_1) != HAL_OK)
  {
    Error_Handler();
  }

}

static void MX_TIM2_Init(void)
{

  TIM_ClockConfigTypeDef sClockSourceConfig = {0};
  TIM_MasterConfigTypeDef sMasterConfig = {0};
  TIM_IC_InitTypeDef sConfigIC = {0};

  htim2.Instance = TIM2;
  htim2.Init.Prescaler = 64-1;
  htim2.Init.CounterMode = TIM_COUNTERMODE_UP;
  htim2.Init.Period = 65535;
  htim2.Init.ClockDivision = TIM_CLOCKDIVISION_DIV1;
  htim2.Init.AutoReloadPreload = TIM_AUTORELOAD_PRELOAD_DISABLE;
  if (HAL_TIM_Base_Init(&htim2) != HAL_OK)
  {
    Error_Handler();
  }
  sClockSourceConfig.ClockSource = TIM_CLOCKSOURCE_INTERNAL;
  if (HAL_TIM_ConfigClockSource(&htim2, &sClockSourceConfig) != HAL_OK)
  {
    Error_Handler();
  }
  if (HAL_TIM_IC_Init(&htim2) != HAL_OK)
  {
    Error_Handler();
  }
  sMasterConfig.MasterOutputTrigger = TIM_TRGO_RESET;
  sMasterConfig.MasterSlaveMode = TIM_MASTERSLAVEMODE_DISABLE;
  if (HAL_TIMEx_MasterConfigSynchronization(&htim2, &sMasterConfig) != HAL_OK)
  {
    Error_Handler();
  }
  sConfigIC.ICPolarity = TIM_INPUTCHANNELPOLARITY_RISING;
  sConfigIC.ICSelection = TIM_ICSELECTION_DIRECTTI;
  sConfigIC.ICPrescaler = TIM_ICPSC_DIV1;
  sConfigIC.ICFilter = 0;
  if (HAL_TIM_IC_ConfigChannel(&htim2, &sConfigIC, TIM_CHANNEL_1) != HAL_OK)
  {
    Error_Handler();
  }
  if (HAL_TIM_IC_ConfigChannel(&htim2, &sConfigIC, TIM_CHANNEL_2) != HAL_OK)
  {
    Error_Handler();
  }
  if (HAL_TIM_IC_ConfigChannel(&htim2, &sConfigIC, TIM_CHANNEL_4) != HAL_OK)
  {
    Error_Handler();
  }

}

static void MX_TIM3_Init(void)
{

  TIM_ClockConfigTypeDef sClockSourceConfig = {0};
  TIM_MasterConfigTypeDef sMasterConfig = {0};
  TIM_IC_InitTypeDef sConfigIC = {0};

  htim3.Instance = TIM3;
  htim3.Init.Prescaler = 64-1;
  htim3.Init.CounterMode = TIM_COUNTERMODE_UP;
  htim3.Init.Period = 65535;
  htim3.Init.ClockDivision = TIM_CLOCKDIVISION_DIV1;
  htim3.Init.AutoReloadPreload = TIM_AUTORELOAD_PRELOAD_DISABLE;
  if (HAL_TIM_Base_Init(&htim3) != HAL_OK)
  {
    Error_Handler();
  }
  sClockSourceConfig.ClockSource = TIM_CLOCKSOURCE_INTERNAL;
  if (HAL_TIM_ConfigClockSource(&htim3, &sClockSourceConfig) != HAL_OK)
  {
    Error_Handler();
  }
  if (HAL_TIM_IC_Init(&htim3) != HAL_OK)
  {
    Error_Handler();
  }
  sMasterConfig.MasterOutputTrigger = TIM_TRGO_RESET;
  sMasterConfig.MasterSlaveMode = TIM_MASTERSLAVEMODE_DISABLE;
  if (HAL_TIMEx_MasterConfigSynchronization(&htim3, &sMasterConfig) != HAL_OK)
  {
    Error_Handler();
  }
  sConfigIC.ICPolarity = TIM_INPUTCHANNELPOLARITY_RISING;
  sConfigIC.ICSelection = TIM_ICSELECTION_DIRECTTI;
  sConfigIC.ICPrescaler = TIM_ICPSC_DIV1;
  sConfigIC.ICFilter = 0;
  if (HAL_TIM_IC_ConfigChannel(&htim3, &sConfigIC, TIM_CHANNEL_4) != HAL_OK)
  {
    Error_Handler();
  }

}

static void MX_DMA_Init(void)
{

  /* DMA controller clock enable */
  __HAL_RCC_DMAMUX1_CLK_ENABLE();
  __HAL_RCC_DMA1_CLK_ENABLE();

  /* DMA interrupt init */
  /* DMA1_Channel1_IRQn interrupt configuration */
  HAL_NVIC_SetPriority(DMA1_Channel1_IRQn, 0, 0);
  HAL_NVIC_EnableIRQ(DMA1_Channel1_IRQn);
  /* DMA1_Channel2_IRQn interrupt configuration */
  HAL_NVIC_SetPriority(DMA1_Channel2_IRQn, 0, 0);
  HAL_NVIC_EnableIRQ(DMA1_Channel2_IRQn);
  /* DMA1_Channel4_IRQn interrupt configuration */
  HAL_NVIC_SetPriority(DMA1_Channel4_IRQn, 0, 0);
  HAL_NVIC_EnableIRQ(DMA1_Channel4_IRQn);
  /* DMA1_Channel5_IRQn interrupt configuration */
  HAL_NVIC_SetPriority(DMA1_Channel5_IRQn, 0, 0);
  HAL_NVIC_EnableIRQ(DMA1_Channel5_IRQn);
  /* DMA1_Channel6_IRQn interrupt configuration */
  HAL_NVIC_SetPriority(DMA1_Channel6_IRQn, 0, 0);
  HAL_NVIC_EnableIRQ(DMA1_Channel6_IRQn);

}

static void MX_GPIO_Init(void)
{

  /* GPIO Ports Clock Enable */
  __HAL_RCC_GPIOA_CLK_ENABLE();
  __HAL_RCC_GPIOB_CLK_ENABLE();

  /* USER CODE BEGIN MX_GPIO_Init_2 */

  /*
   * MUX address outputs: PA2 (S0), PA3 (S1), PA4 (S2), PA5 (S3)
   * Configured here because they are user-added GPIOs not in the original
   * .ioc.  If you add them to CubeMX and regenerate, this block will be
   * replaced by the generated code — that is fine, just remove this block.
   */
  GPIO_InitTypeDef GPIO_InitStruct = {0};
  GPIO_InitStruct.Pin   = MUX_S0_Pin | MUX_S1_Pin | MUX_S2_Pin | MUX_S3_Pin;
  GPIO_InitStruct.Mode  = GPIO_MODE_OUTPUT_PP;
  GPIO_InitStruct.Pull  = GPIO_NOPULL;
  GPIO_InitStruct.Speed = GPIO_SPEED_FREQ_LOW;
  HAL_GPIO_Init(GPIOB, &GPIO_InitStruct);

  /* Drive all address lines LOW (channel 0 selected by default) */
  HAL_GPIO_WritePin(GPIOB,
      MUX_S0_Pin | MUX_S1_Pin | MUX_S2_Pin | MUX_S3_Pin,
      GPIO_PIN_RESET);

  /* USER CODE END MX_GPIO_Init_2 */
}

/* USER CODE BEGIN 4 */

/**
 * @brief  Reconfigure FDCAN2 for classic CAN at 500 kbps and start it.
 *
 * MX_FDCAN2_Init() (generated by CubeMX) already configured the GPIO and clock
 * via HAL_FDCAN_MspInit. This function overrides the bit timing with the correct
 * 500 kbps parameters and configures the global filter before starting.
 *
 * Bit timing (FDCAN clock = 64 MHz via PCLK1, prescaler = 8):
 *   TQ = 8 / 64 MHz = 125 ns
 *   Bit time = (1 + 13 + 2) × 125 ns = 2000 ns → 500 kbps, sample point 87.5%
 *
 * TODO: set these values in the .ioc (Prescaler=8, TS1=13, TS2=2) so
 *       MX_FDCAN2_Init() generates the correct timing and this override
 *       can be removed.
 */
static void FDCAN_Config(void)
{
    hfdcan2.Init.AutoRetransmission   = ENABLE;
    hfdcan2.Init.NominalPrescaler     = 8u;
    hfdcan2.Init.NominalSyncJumpWidth = 1u;
    hfdcan2.Init.NominalTimeSeg1      = 13u;
    hfdcan2.Init.NominalTimeSeg2      = 2u;

    if (HAL_FDCAN_Init(&hfdcan2) != HAL_OK)
        Error_Handler();

    /* Reject all incoming frames — we only transmit */
    if (HAL_FDCAN_ConfigGlobalFilter(&hfdcan2,
            FDCAN_REJECT, FDCAN_REJECT,
            FDCAN_REJECT_REMOTE, FDCAN_REJECT_REMOTE) != HAL_OK)
        Error_Handler();

    if (HAL_FDCAN_Start(&hfdcan2) != HAL_OK)
        Error_Handler();
}

/* ---- USART2 helpers — register-level, no HAL_UART needed ----
 *
 * USART2 is connected to the ST-Link VCP on Nucleo-G474RE:
 *   PA2 = USART2_TX (AF7)  →  ST-Link RX
 *   PA3 = USART2_RX (AF7)  →  ST-Link TX  (unused, TX-only here)
 *
 * MUX address lines were moved from PA2-PA5 to PB4-PB7 to free these pins.
 */
static void USART2_Init(void)
{
    /* PA2 = AF7 (USART2_TX), PA3 = AF7 (USART2_RX — wired to ST-Link) */
    GPIOA->MODER   = (GPIOA->MODER   & ~(0xFu << 4u)) | (0xAu << 4u);  /* AF */
    GPIOA->OSPEEDR = (GPIOA->OSPEEDR & ~(0xFu << 4u)) | (0x5u << 4u);  /* medium speed */
    GPIOA->PUPDR   = (GPIOA->PUPDR   & ~(0xFu << 4u));                  /* no pull */
    GPIOA->AFR[0]  = (GPIOA->AFR[0]  & ~(0xFFu << 8u)) | (0x77u << 8u); /* AF7 */

    RCC->APB1ENR1 |= RCC_APB1ENR1_USART2EN;
    (void)RCC->APB1ENR1;                          /* read-back: clock enable fence */

    USART2->CR1 = 0u;                             /* reset */
    USART2->BRR = 64000000u / 115200u;            /* 556 → 115107 baud @ 64 MHz */
    USART2->CR1 = USART_CR1_TE | USART_CR1_RE | USART_CR1_UE;  /* TX+RX, enable */
}

static void USART2_Write(const char *buf, uint16_t len)
{
    for (uint16_t i = 0u; i < len; i++)
    {
        while (!(USART2->ISR & USART_ISR_TXE_Msk));
        USART2->TDR = (uint8_t)buf[i];
    }
    while (!(USART2->ISR & USART_ISR_TC_Msk));  /* wait until last byte is out */
}

#ifdef TEST_MODE
/* Gera PWM 50% duty em TIM16 CH1 (PA6, AF1) para validar o pipeline V→F→T.
 * Jumper PA6 → pino de entrada do segmento que quer validar (ex: PA0 = seg 0). */
static void test_pwm_start(uint32_t freq_hz)
{
    __HAL_RCC_TIM16_CLK_ENABLE();

    /* PA6 → TIM16_CH1 (AF1) */
    GPIO_InitTypeDef gpio = {0};
    gpio.Pin       = GPIO_PIN_6;
    gpio.Mode      = GPIO_MODE_AF_PP;
    gpio.Pull      = GPIO_NOPULL;
    gpio.Speed     = GPIO_SPEED_FREQ_LOW;
    gpio.Alternate = GPIO_AF1_TIM16;
    HAL_GPIO_Init(GPIOA, &gpio);

    /* ARR: freq = 1 MHz / (ARR + 1)  →  ARR = (1 MHz / freq) - 1 */
    uint32_t arr = (1000000UL / freq_hz) - 1UL;

    htim16_test.Instance               = TIM16;
    htim16_test.Init.Prescaler         = 64U - 1U;   /* 64 MHz / 64 = 1 MHz */
    htim16_test.Init.CounterMode       = TIM_COUNTERMODE_UP;
    htim16_test.Init.Period            = arr;
    htim16_test.Init.ClockDivision     = TIM_CLOCKDIVISION_DIV1;
    htim16_test.Init.RepetitionCounter = 0U;
    htim16_test.Init.AutoReloadPreload = TIM_AUTORELOAD_PRELOAD_DISABLE;
    if (HAL_TIM_PWM_Init(&htim16_test) != HAL_OK)
        Error_Handler();

    TIM_OC_InitTypeDef oc = {0};
    oc.OCMode     = TIM_OCMODE_PWM1;
    oc.Pulse      = (arr + 1U) / 2U;   /* 50% duty cycle */
    oc.OCPolarity = TIM_OCPOLARITY_HIGH;
    oc.OCFastMode = TIM_OCFAST_DISABLE;
    if (HAL_TIM_PWM_ConfigChannel(&htim16_test, &oc, TIM_CHANNEL_1) != HAL_OK)
        Error_Handler();

    HAL_TIM_PWM_Start(&htim16_test, TIM_CHANNEL_1);
}

/* Atualiza a frequência gerada em tempo real, sem reiniciar o timer.
 * Chamado a cada iteração do loop quando test_freq_hz mudar via Live Expressions. */
static void test_pwm_update(uint32_t freq_hz)
{
    if (freq_hz == 0U) return;
    uint32_t arr = (1000000UL / freq_hz) - 1UL;
    __HAL_TIM_SET_AUTORELOAD(&htim16_test, arr);
    __HAL_TIM_SET_COMPARE(&htim16_test, TIM_CHANNEL_1, (arr + 1U) / 2U);
}
#endif /* TEST_MODE */

/* USER CODE END 4 */

void Error_Handler(void)
{
  __disable_irq();
  while (1)
  {
  }
}
#ifdef USE_FULL_ASSERT
/**
  * @brief  Reports the name of the source file and the source line number
  *         where the assert_param error has occurred.
  * @param  file: pointer to the source file name
  * @param  line: assert_param error line source number
  * @retval None
  */
void assert_failed(uint8_t *file, uint32_t line)
{
  /* USER CODE BEGIN 6 */
  (void)file; (void)line;
  /* USER CODE END 6 */
}
#endif /* USE_FULL_ASSERT */
